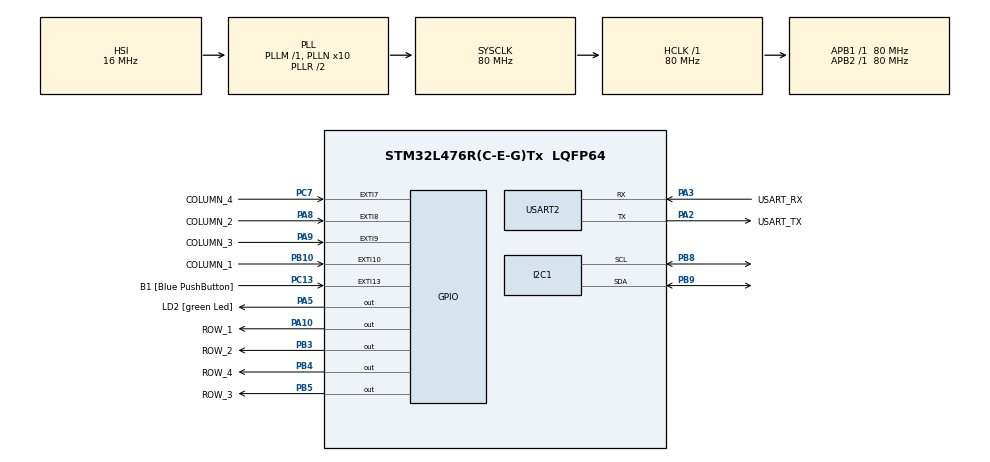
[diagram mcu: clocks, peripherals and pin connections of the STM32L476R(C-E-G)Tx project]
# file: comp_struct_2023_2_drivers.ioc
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I2C1.Timing=0x10909CEC
Mcu.Family=STM32L4
Mcu.Name=STM32L476R(C-E-G)Tx
Mcu.Package=LQFP64
NVIC.EXTI15_10_IRQn=true\:0\:0\:false\:false\:true\:true\:true\:true
NVIC.EXTI9_5_IRQn=true\:0\:0\:false\:false\:true\:true\:true\:true
NVIC.PriorityGroup=NVIC_PRIORITYGROUP_4
NVIC.USART2_IRQn=true\:0\:0\:false\:false\:true\:true\:true\:true
PA10.GPIO_Label=ROW_1
PA10.Signal=GPIO_Output
PA13\ (JTMS-SWDIO).GPIO_Label=TMS
PA13\ (JTMS-SWDIO).Mode=Serial_Wire
PA13\ (JTMS-SWDIO).Signal=SYS_JTMS-SWDIO
PA14\ (JTCK-SWCLK).GPIO_Label=TCK
PA14\ (JTCK-SWCLK).Mode=Serial_Wire
PA14\ (JTCK-SWCLK).Signal=SYS_JTCK-SWCLK
PA2.GPIO_Label=USART_TX
PA2.GPIO_Mode=GPIO_MODE_AF_PP
PA2.GPIO_PuPd=GPIO_NOPULL
PA2.GPIO_Speed=GPIO_SPEED_FREQ_VERY_HIGH
PA2.Mode=Asynchronous
PA2.Signal=USART2_TX
PA3.GPIO_Label=USART_RX
PA3.GPIO_Mode=GPIO_MODE_AF_PP
PA3.GPIO_PuPd=GPIO_NOPULL
PA3.GPIO_Speed=GPIO_SPEED_FREQ_VERY_HIGH
PA3.Mode=Asynchronous
PA3.Signal=USART2_RX
PA5.GPIO_Label=LD2 [green Led]
PA5.GPIO_ModeDefaultOutputPP=GPIO_MODE_OUTPUT_PP
PA5.GPIO_PuPd=GPIO_NOPULL
PA5.GPIO_Speed=GPIO_SPEED_FREQ_LOW
PA5.Signal=GPIO_Output
PA8.GPIO_Label=COLUMN_2
PA8.GPIO_PuPd=GPIO_PULLDOWN
PA8.Signal=GPXTI8
PA9.GPIO_Label=COLUMN_3
PA9.GPIO_PuPd=GPIO_PULLDOWN
PA9.Signal=GPXTI9
PB10.GPIO_Label=COLUMN_1
PB10.GPIO_PuPd=GPIO_PULLDOWN
PB10.Signal=GPXTI10
PB3\ (JTDO-TRACESWO).GPIO_Label=ROW_2
PB3\ (JTDO-TRACESWO).Signal=GPIO_Output
PB4\ (NJTRST).GPIO_Label=ROW_4
PB4\ (NJTRST).Signal=GPIO_Output
PB5.GPIO_Label=ROW_3
PB5.Signal=GPIO_Output
PB8.Mode=I2C
PB8.Signal=I2C1_SCL
PB9.Mode=I2C
PB9.Signal=I2C1_SDA
PC13.GPIO_Label=B1 [Blue PushButton]
PC13.GPIO_ModeDefaultEXTI=GPIO_MODE_IT_FALLING
PC13.GPIO_PuPd=GPIO_NOPULL
PC13.Signal=GPXTI13
PC14-OSC32_IN\ (PC14).Mode=LSE-External-Oscillator
PC14-OSC32_IN\ (PC14).Signal=RCC_OSC32_IN
PC15-OSC32_OUT\ (PC15).Mode=LSE-External-Oscillator
PC15-OSC32_OUT\ (PC15).Signal=RCC_OSC32_OUT
PC7.GPIO_Label=COLUMN_4
PC7.GPIO_PuPd=GPIO_PULLDOWN
PC7.Signal=GPXTI7
PH0-OSC_IN\ (PH0).Signal=RCC_OSC_IN
PH1-OSC_OUT\ (PH1).Signal=RCC_OSC_OUT
ProjectManager.HeapSize=0x200
ProjectManager.StackSize=0x400
ProjectManager.TargetToolchain=STM32CubeIDE
RCC.ADCFreq_Value=64000000
RCC.AHBFreq_Value=80000000
RCC.APB1Freq_Value=80000000
RCC.APB1TimFreq_Value=80000000
RCC.APB2Freq_Value=80000000
RCC.APB2TimFreq_Value=80000000
RCC.CortexFreq_Value=80000000
RCC.HCLKFreq_Value=80000000
RCC.HSE_VALUE=8000000
RCC.HSI_VALUE=16000000
RCC.MSI_VALUE=4000000
RCC.PLLN=10
RCC.PLLSourceVirtual=RCC_PLLSOURCE_HSI
RCC.PREFETCH_ENABLE=1
RCC.SYSCLKFreq_VALUE=80000000
RCC.SYSCLKSource=RCC_SYSCLKSOURCE_PLLCLK
RCC.USBFreq_Value=64000000
RCC.VCOOutputFreq_Value=160000000
USART2.VirtualMode-Asynchronous=VM_ASYNC
board=NUCLEO-L476RG

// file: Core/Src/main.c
/* USER CODE BEGIN Header */
/**
  ******************************************************************************
  * @file           : main.c
  * @brief          : Main program body
  ******************************************************************************
  * @attention
  *
  * Copyright (c) 2023 STMicroelectronics.
  * All rights reserved.
  *
  * This software is licensed under terms that can be found in the LICENSE file
  * in the root directory of this software component.
  * If no LICENSE file comes with this software, it is provided AS-IS.
  *
  ******************************************************************************
  */
/* USER CODE END Header */
#include "main.h"

/* USER CODE BEGIN Includes */
#include <stdio.h>
#include <string.h>

#include "ring_buffer.h"

#include "ssd1306.h"
#include "ssd1306_fonts.h"

#include "keypad.h"

/* USER CODE END Includes */

I2C_HandleTypeDef hi2c1;

/* USER CODE BEGIN PV */
ring_buffer_t ring_buffer_uart_rx;
uint8_t rx_buffer[16];
uint8_t rx_data;

uint16_t key_event = 0xFF;

ring_buffer_t ring_buffer_keypad;
uint8_t keypad_buffer[5];
/* USER CODE END PV */

void SystemClock_Config(void);
static void MX_GPIO_Init(void);
static void MX_USART2_UART_Init(void);
static void MX_I2C1_Init(void);

/* USER CODE BEGIN 0 */

int _write(int file, char *ptr, int len)
{
  //HAL_UART_Transmit(&huart2, (uint8_t *)ptr, len, HAL_MAX_DELAY);
	for (uint8_t idx = 0; idx < len; idx++) {
		// send byte by byte in blocking mode
		while (LL_USART_IsActiveFlag_TXE(USART2) == 0) {
			// wait until Tx Empty flag becomes true
		}
		LL_USART_WriteReg(USART2, TDR, ptr[idx]);
	  //LL_USART_TransmitData8(USART2, ptr[idx]);
  }
  return len;
}
/**
  * @brief  Rx Transfer completed callback.
  * @param  huart UART handle.
  * @retval None
  */
void Custom_USART2_RxCallback(void)
{
	uint8_t rx_data = LL_USART_ReadReg(USART2, RDR);
	if (ring_buffer_put(&ring_buffer_uart_rx, rx_data) == 0) {
		printf("Rx buffer is full\r\n");
	}
//	HAL_UART_Receive_IT(&huart2, &rx_data, 1);

	//uint8_t rx_data = LL_USART_ReceiveData8(USART2);
	//ring_buffer_put(&ring_buffer_uart_rx, rx_data);
}

/**
  * @brief  EXTI line detection callback.
  * @param  GPIO_Pin Specifies the port pin connected
  *         to corresponding EXTI line.
  * @retval None
  */
void HAL_GPIO_EXTI_Callback(uint16_t GPIO_Pin)
{
	key_event = GPIO_Pin;
}

void validate_sequence(void)
{
	printf("Validating\r\n");
	uint8_t birth_date[5] = "1992#";
	uint8_t sequence[5];
	for (uint8_t idx = 0; idx < 5; idx++) {
	  ring_buffer_get(&ring_buffer_keypad, &sequence[idx]);
	}char *result_log;
	if (memcmp(birth_date, sequence, 5) == 0) {
//	  ssd1306_SetCursor(20, 20);
//	  ssd1306_WriteString("Pass", Font_16x26, White);
	  result_log = "Pass";
	} else {
//	  ssd1306_SetCursor(20, 20);
//	  ssd1306_WriteString("Fail", Font_16x26, White);
	  result_log = "Fail";
	}
	printf("Sequence result: %s\r\n", result_log);

	ssd1306_SetCursor(20, 20);
	ssd1306_WriteString(result_log, Font_16x26, White);
	ssd1306_UpdateScreen();
}
/* USER CODE END 0 */

int main(void)
{

  /* MCU Configuration--------------------------------------------------------*/

  /* Reset of all peripherals, Initializes the Flash interface and the Systick. */
  HAL_Init();

  /* Configure the system clock */
  SystemClock_Config();

  /* Initialize all configured peripherals */
  MX_GPIO_Init();
  MX_USART2_UART_Init();
  MX_I2C1_Init();
  /* USER CODE BEGIN 2 */
  ring_buffer_init(&ring_buffer_uart_rx, rx_buffer, 16);
  ring_buffer_init(&ring_buffer_keypad, keypad_buffer, 5);

//  HAL_UART_Receive_IT(&huart2, &rx_data, 1);
  LL_USART_EnableIT_RXNE(USART2);

  ssd1306_Init();
  ssd1306_Fill(Black);
  ssd1306_SetCursor(20, 20);
  ssd1306_WriteString("Wait", Font_16x26, White);
  ssd1306_UpdateScreen();

  keypad_init(); // Initialize the keypad functionality

  /* USER CODE END 2 */

  /* Infinite loop */
  /* USER CODE BEGIN WHILE */
  printf("Waiting sequence...\r\n");
  while (1)
  {
	  if (key_event != 0xFF) { // check if there is a event from the EXTi callback
		  uint8_t key_pressed = keypad_handler(key_event); // call the keypad handler
		  if (key_pressed != 0xFF) {
			  printf("Key pressed: %c\r\n", key_pressed); // print the key pressed
			  ring_buffer_put(&ring_buffer_keypad, key_pressed);
		  }

		  if (key_pressed == '*') {
			  ring_buffer_reset(&ring_buffer_keypad);
		  } else if (ring_buffer_is_full(&ring_buffer_keypad) != 0) {
			  validate_sequence();
		  }
		  key_event = 0xFF; // clean the event
	  }
    /* USER CODE END WHILE */

  }
}

void SystemClock_Config(void)
{
  RCC_OscInitTypeDef RCC_OscInitStruct = {0};
  RCC_ClkInitTypeDef RCC_ClkInitStruct = {0};

  /** Configure the main internal regulator output voltage
  */
  if (HAL_PWREx_ControlVoltageScaling(PWR_REGULATOR_VOLTAGE_SCALE1) != HAL_OK)
  {
    Error_Handler();
  }

  /** Initializes the RCC Oscillators according to the specified parameters
  * in the RCC_OscInitTypeDef structure.
  */
  RCC_OscInitStruct.OscillatorType = RCC_OSCILLATORTYPE_HSI;
  RCC_OscInitStruct.HSIState = RCC_HSI_ON;
  RCC_OscInitStruct.HSICalibrationValue = RCC_HSICALIBRATION_DEFAULT;
  RCC_OscInitStruct.PLL.PLLState = RCC_PLL_ON;
  RCC_OscInitStruct.PLL.PLLSource = RCC_PLLSOURCE_HSI;
  RCC_OscInitStruct.PLL.PLLM = 1;
  RCC_OscInitStruct.PLL.PLLN = 10;
  RCC_OscInitStruct.PLL.PLLP = RCC_PLLP_DIV7;
  RCC_OscInitStruct.PLL.PLLQ = RCC_PLLQ_DIV2;
  RCC_OscInitStruct.PLL.PLLR = RCC_PLLR_DIV2;
  if (HAL_RCC_OscConfig(&RCC_OscInitStruct) != HAL_OK)
  {
    Error_Handler();
  }

  /** Initializes the CPU, AHB and APB buses clocks
  */
  RCC_ClkInitStruct.ClockType = RCC_CLOCKTYPE_HCLK|RCC_CLOCKTYPE_SYSCLK
                              |RCC_CLOCKTYPE_PCLK1|RCC_CLOCKTYPE_PCLK2;
  RCC_ClkInitStruct.SYSCLKSource = RCC_SYSCLKSOURCE_PLLCLK;
  RCC_ClkInitStruct.AHBCLKDivider = RCC_SYSCLK_DIV1;
  RCC_ClkInitStruct.APB1CLKDivider = RCC_HCLK_DIV1;
  RCC_ClkInitStruct.APB2CLKDivider = RCC_HCLK_DIV1;

  if (HAL_RCC_ClockConfig(&RCC_ClkInitStruct, FLASH_LATENCY_4) != HAL_OK)
  {
    Error_Handler();
  }
}

static void MX_I2C1_Init(void)
{

  hi2c1.Instance = I2C1;
  hi2c1.Init.Timing = 0x10909CEC;
  hi2c1.Init.OwnAddress1 = 0;
  hi2c1.Init.AddressingMode = I2C_ADDRESSINGMODE_7BIT;
  hi2c1.Init.DualAddressMode = I2C_DUALADDRESS_DISABLE;
  hi2c1.Init.OwnAddress2 = 0;
  hi2c1.Init.OwnAddress2Masks = I2C_OA2_NOMASK;
  hi2c1.Init.GeneralCallMode = I2C_GENERALCALL_DISABLE;
  hi2c1.Init.NoStretchMode = I2C_NOSTRETCH_DISABLE;
  if (HAL_I2C_Init(&hi2c1) != HAL_OK)
  {
    Error_Handler();
  }

  /** Configure Analogue filter
  */
  if (HAL_I2CEx_ConfigAnalogFilter(&hi2c1, I2C_ANALOGFILTER_ENABLE) != HAL_OK)
  {
    Error_Handler();
  }

  /** Configure Digital filter
  */
  if (HAL_I2CEx_ConfigDigitalFilter(&hi2c1, 0) != HAL_OK)
  {
    Error_Handler();
  }

}

static void MX_USART2_UART_Init(void)
{

  LL_USART_InitTypeDef USART_InitStruct = {0};

  LL_GPIO_InitTypeDef GPIO_InitStruct = {0};
  RCC_PeriphCLKInitTypeDef PeriphClkInit = {0};

  /** Initializes the peripherals clock
  */
  PeriphClkInit.PeriphClockSelection = RCC_PERIPHCLK_USART2;
  PeriphClkInit.Usart2ClockSelection = RCC_USART2CLKSOURCE_PCLK1;
  if (HAL_RCCEx_PeriphCLKConfig(&PeriphClkInit) != HAL_OK)
  {
    Error_Handler();
  }

  /* Peripheral clock enable */
  LL_APB1_GRP1_EnableClock(LL_APB1_GRP1_PERIPH_USART2);

  LL_AHB2_GRP1_EnableClock(LL_AHB2_GRP1_PERIPH_GPIOA);
  /**USART2 GPIO Configuration
  PA2   ------> USART2_TX
  PA3   ------> USART2_RX
  */
  GPIO_InitStruct.Pin = USART_TX_Pin|USART_RX_Pin;
  GPIO_InitStruct.Mode = LL_GPIO_MODE_ALTERNATE;
  GPIO_InitStruct.Speed = LL_GPIO_SPEED_FREQ_VERY_HIGH;
  GPIO_InitStruct.OutputType = LL_GPIO_OUTPUT_PUSHPULL;
  GPIO_InitStruct.Pull = LL_GPIO_PULL_NO;
  GPIO_InitStruct.Alternate = LL_GPIO_AF_7;
  LL_GPIO_Init(GPIOA, &GPIO_InitStruct);

  /* USART2 interrupt Init */
  NVIC_SetPriority(USART2_IRQn, NVIC_EncodePriority(NVIC_GetPriorityGrouping(),0, 0));
  NVIC_EnableIRQ(USART2_IRQn);

  USART_InitStruct.BaudRate = 115200;
  USART_InitStruct.DataWidth = LL_USART_DATAWIDTH_8B;
  USART_InitStruct.StopBits = LL_USART_STOPBITS_1;
  USART_InitStruct.Parity = LL_USART_PARITY_NONE;
  USART_InitStruct.TransferDirection = LL_USART_DIRECTION_TX_RX;
  USART_InitStruct.HardwareFlowControl = LL_USART_HWCONTROL_NONE;
  USART_InitStruct.OverSampling = LL_USART_OVERSAMPLING_16;
  LL_USART_Init(USART2, &USART_InitStruct);
  LL_USART_ConfigAsyncMode(USART2);
  LL_USART_Enable(USART2);

}

static void MX_GPIO_Init(void)
{
  LL_EXTI_InitTypeDef EXTI_InitStruct = {0};
  LL_GPIO_InitTypeDef GPIO_InitStruct = {0};

  /* GPIO Ports Clock Enable */
  LL_AHB2_GRP1_EnableClock(LL_AHB2_GRP1_PERIPH_GPIOC);
  LL_AHB2_GRP1_EnableClock(LL_AHB2_GRP1_PERIPH_GPIOH);
  LL_AHB2_GRP1_EnableClock(LL_AHB2_GRP1_PERIPH_GPIOA);
  LL_AHB2_GRP1_EnableClock(LL_AHB2_GRP1_PERIPH_GPIOB);

  /**/
  LL_GPIO_ResetOutputPin(GPIOA, LD2_Pin|ROW_1_Pin);

  /**/
  LL_GPIO_ResetOutputPin(GPIOB, ROW_2_Pin|ROW_4_Pin|ROW_3_Pin);

  /**/
  LL_SYSCFG_SetEXTISource(LL_SYSCFG_EXTI_PORTC, LL_SYSCFG_EXTI_LINE13);

  /**/
  LL_SYSCFG_SetEXTISource(LL_SYSCFG_EXTI_PORTB, LL_SYSCFG_EXTI_LINE10);

  /**/
  LL_SYSCFG_SetEXTISource(LL_SYSCFG_EXTI_PORTC, LL_SYSCFG_EXTI_LINE7);

  /**/
  LL_SYSCFG_SetEXTISource(LL_SYSCFG_EXTI_PORTA, LL_SYSCFG_EXTI_LINE8);

  /**/
  LL_SYSCFG_SetEXTISource(LL_SYSCFG_EXTI_PORTA, LL_SYSCFG_EXTI_LINE9);

  /**/
  EXTI_InitStruct.Line_0_31 = LL_EXTI_LINE_13;
  EXTI_InitStruct.Line_32_63 = LL_EXTI_LINE_NONE;
  EXTI_InitStruct.LineCommand = ENABLE;
  EXTI_InitStruct.Mode = LL_EXTI_MODE_IT;
  EXTI_InitStruct.Trigger = LL_EXTI_TRIGGER_FALLING;
  LL_EXTI_Init(&EXTI_InitStruct);

  /**/
  EXTI_InitStruct.Line_0_31 = LL_EXTI_LINE_10;
  EXTI_InitStruct.Line_32_63 = LL_EXTI_LINE_NONE;
  EXTI_InitStruct.LineCommand = ENABLE;
  EXTI_InitStruct.Mode = LL_EXTI_MODE_IT;
  EXTI_InitStruct.Trigger = LL_EXTI_TRIGGER_RISING;
  LL_EXTI_Init(&EXTI_InitStruct);

  /**/
  EXTI_InitStruct.Line_0_31 = LL_EXTI_LINE_7;
  EXTI_InitStruct.Line_32_63 = LL_EXTI_LINE_NONE;
  EXTI_InitStruct.LineCommand = ENABLE;
  EXTI_InitStruct.Mode = LL_EXTI_MODE_IT;
  EXTI_InitStruct.Trigger = LL_EXTI_TRIGGER_RISING;
  LL_EXTI_Init(&EXTI_InitStruct);

  /**/
  EXTI_InitStruct.Line_0_31 = LL_EXTI_LINE_8;
  EXTI_InitStruct.Line_32_63 = LL_EXTI_LINE_NONE;
  EXTI_InitStruct.LineCommand = ENABLE;
  EXTI_InitStruct.Mode = LL_EXTI_MODE_IT;
  EXTI_InitStruct.Trigger = LL_EXTI_TRIGGER_RISING;
  LL_EXTI_Init(&EXTI_InitStruct);

  /**/
  EXTI_InitStruct.Line_0_31 = LL_EXTI_LINE_9;
  EXTI_InitStruct.Line_32_63 = LL_EXTI_LINE_NONE;
  EXTI_InitStruct.LineCommand = ENABLE;
  EXTI_InitStruct.Mode = LL_EXTI_MODE_IT;
  EXTI_InitStruct.Trigger = LL_EXTI_TRIGGER_RISING;
  LL_EXTI_Init(&EXTI_InitStruct);

  /**/
  LL_GPIO_SetPinPull(B1_GPIO_Port, B1_Pin, LL_GPIO_PULL_NO);

  /**/
  LL_GPIO_SetPinPull(COLUMN_1_GPIO_Port, COLUMN_1_Pin, LL_GPIO_PULL_DOWN);

  /**/
  LL_GPIO_SetPinPull(COLUMN_4_GPIO_Port, COLUMN_4_Pin, LL_GPIO_PULL_DOWN);

  /**/
  LL_GPIO_SetPinPull(COLUMN_2_GPIO_Port, COLUMN_2_Pin, LL_GPIO_PULL_DOWN);

  /**/
  LL_GPIO_SetPinPull(COLUMN_3_GPIO_Port, COLUMN_3_Pin, LL_GPIO_PULL_DOWN);

  /**/
  LL_GPIO_SetPinMode(B1_GPIO_Port, B1_Pin, LL_GPIO_MODE_INPUT);

  /**/
  LL_GPIO_SetPinMode(COLUMN_1_GPIO_Port, COLUMN_1_Pin, LL_GPIO_MODE_INPUT);

  /**/
  LL_GPIO_SetPinMode(COLUMN_4_GPIO_Port, COLUMN_4_Pin, LL_GPIO_MODE_INPUT);

  /**/
  LL_GPIO_SetPinMode(COLUMN_2_GPIO_Port, COLUMN_2_Pin, LL_GPIO_MODE_INPUT);

  /**/
  LL_GPIO_SetPinMode(COLUMN_3_GPIO_Port, COLUMN_3_Pin, LL_GPIO_MODE_INPUT);

  /**/
  GPIO_InitStruct.Pin = LD2_Pin|ROW_1_Pin;
  GPIO_InitStruct.Mode = LL_GPIO_MODE_OUTPUT;
  GPIO_InitStruct.Speed = LL_GPIO_SPEED_FREQ_LOW;
  GPIO_InitStruct.OutputType = LL_GPIO_OUTPUT_PUSHPULL;
  GPIO_InitStruct.Pull = LL_GPIO_PULL_NO;
  LL_GPIO_Init(GPIOA, &GPIO_InitStruct);

  /**/
  GPIO_InitStruct.Pin = ROW_2_Pin|ROW_4_Pin|ROW_3_Pin;
  GPIO_InitStruct.Mode = LL_GPIO_MODE_OUTPUT;
  GPIO_InitStruct.Speed = LL_GPIO_SPEED_FREQ_LOW;
  GPIO_InitStruct.OutputType = LL_GPIO_OUTPUT_PUSHPULL;
  GPIO_InitStruct.Pull = LL_GPIO_PULL_NO;
  LL_GPIO_Init(GPIOB, &GPIO_InitStruct);

  /* EXTI interrupt init*/
  NVIC_SetPriority(EXTI9_5_IRQn, NVIC_EncodePriority(NVIC_GetPriorityGrouping(),0, 0));
  NVIC_EnableIRQ(EXTI9_5_IRQn);
  NVIC_SetPriority(EXTI15_10_IRQn, NVIC_EncodePriority(NVIC_GetPriorityGrouping(),0, 0));
  NVIC_EnableIRQ(EXTI15_10_IRQn);

}

void Error_Handler(void)
{
  __disable_irq();
  while (1)
  {
  }
}
